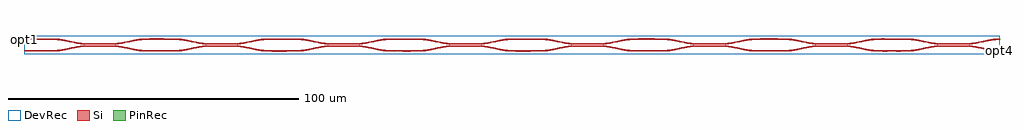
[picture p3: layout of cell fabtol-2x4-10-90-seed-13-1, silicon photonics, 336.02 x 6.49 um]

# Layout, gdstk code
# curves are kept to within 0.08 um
import gdstk
lib = gdstk.Library(unit=1e-6, precision=1e-09)
def R(c, l, rs):  # rectangles x0, y0, x1, y1
    for r in rs: c.add(gdstk.rectangle(r[:2], r[2:], *l))
def P(c, l, *ps):  # polygons
    for p in ps: c.add(gdstk.Polygon(p, *l))
Si = (1, 0)
PinRec = (1, 10)
DevRec = (68, 0)

layer_3_0_phase_sec_3_43 = lib.new_cell('layer-3_0_phase_sec_3$43')
P(layer_3_0_phase_sec_3_43, Si, [(6.24,-0.24),(0,-0.225),(0,0.225),(10,0.225),(10,-0.225)])

layer_3_0_phase_sec_2_43 = lib.new_cell('layer-3_0_phase_sec_2$43')
P(layer_3_0_phase_sec_2_43, Si, [(1.12,-0.238),(0,-0.225),(0,0.225),(10,0.225),(10,-0.225)])

layer_3_0_phase_sec_1_43 = lib.new_cell('layer-3_0_phase_sec_1$43')
P(layer_3_0_phase_sec_1_43, Si, [(1.239,-0.234),(0,-0.225),(0,0.225),(10,0.225),(10,-0.225)])

layer_3_0_phase_sec_0_43 = lib.new_cell('layer-3_0_phase_sec_0$43')
P(layer_3_0_phase_sec_0_43, Si, [(3.009,-0.244),(0,-0.225),(0,0.225),(10,0.225),(10,-0.225)])

layer_0_0_phase_sec_3_43 = lib.new_cell('layer-0_0_phase_sec_3$43')
P(layer_0_0_phase_sec_3_43, Si, [(3.091,-0.234),(0,-0.225),(0,0.225),(10,0.225),(10,-0.225)])

layer_1_0_phase_sec_0_43 = lib.new_cell('layer-1_0_phase_sec_0$43')
P(layer_1_0_phase_sec_0_43, Si, [(1.122,-0.231),(0,-0.225),(0,0.225),(10,0.225),(10,-0.225)])

layer_1_0_phase_sec_1_43 = lib.new_cell('layer-1_0_phase_sec_1$43')
P(layer_1_0_phase_sec_1_43, Si, [(1.278,-0.247),(0,-0.225),(0,0.225),(10,0.225),(10,-0.225)])

layer_0_0_phase_sec_2_43 = lib.new_cell('layer-0_0_phase_sec_2$43')
P(layer_0_0_phase_sec_2_43, Si, [(1.212,-0.245),(0,-0.225),(0,0.225),(10,0.225),(10,-0.225)])

layer_0_0_phase_sec_0_43 = lib.new_cell('layer-0_0_phase_sec_0$43')
P(layer_0_0_phase_sec_0_43, Si, [(2.102,-0.239),(0,-0.225),(0,0.225),(10,0.225),(10,-0.225)])

layer_1_0_phase_sec_2_43 = lib.new_cell('layer-1_0_phase_sec_2$43')
P(layer_1_0_phase_sec_2_43, Si, [(5.69,-0.237),(0,-0.225),(0,0.225),(10,0.225),(10,-0.225)])

layer_0_0_phase_sec_1_43 = lib.new_cell('layer-0_0_phase_sec_1$43')
P(layer_0_0_phase_sec_1_43, Si, [(2.083,-0.227),(0,-0.225),(0,0.225),(10,0.225),(10,-0.225)])

layer_1_0_phase_sec_3_43 = lib.new_cell('layer-1_0_phase_sec_3$43')
P(layer_1_0_phase_sec_3_43, Si, [(1.444,-0.242),(0,-0.225),(0,0.225),(10,0.225),(10,-0.225)])

dc_arm_down_43 = lib.new_cell('dc_arm_down$43')
R(dc_arm_down_43, Si, [(12,-0.55,20,-0.1)])
P(dc_arm_down_43, Si, [(32,-2.225),(30.861,-2.188),(29.344,-2.033),(22.966,-0.793),(21.481,-0.613),(20,-0.55),(20,-0.1),(21.139,-0.137),(22.656,-0.292),(29.034,-1.532),(30.519,-1.712),(32,-1.775)],
  [(0,-2.225),(0,-1.775),(1.481,-1.712),(2.966,-1.532),(9.344,-0.292),(10.861,-0.137),(12,-0.1),(12,-0.55),(10.519,-0.613),(9.034,-0.793),(2.656,-2.033),(1.139,-2.188)])

dc_arm_up_43 = lib.new_cell('dc_arm_up$43')
R(dc_arm_up_43, Si, [(12,0.1,20,0.55)])
P(dc_arm_up_43, Si, [(20,0.1),(20,0.55),(21.481,0.613),(22.966,0.793),(29.344,2.033),(30.861,2.188),(32,2.225),(32,1.775),(30.519,1.712),(29.034,1.532),(22.656,0.292),(21.139,0.137)],
  [(12,0.1),(10.861,0.137),(9.344,0.292),(2.966,1.532),(1.481,1.712),(0,1.775),(0,2.225),(1.139,2.188),(2.656,2.033),(9.034,0.793),(10.519,0.613),(12,0.55)])

dc_43 = lib.new_cell('dc$43')
dc_43.add(gdstk.Reference(dc_arm_down_43, (0,0)))
dc_43.add(gdstk.Reference(dc_arm_up_43, (0,0)))

layer_2_0_phase_sec_0_43 = lib.new_cell('layer-2_0_phase_sec_0$43')
P(layer_2_0_phase_sec_0_43, Si, [(6.266,-0.232),(0,-0.225),(0,0.225),(10,0.225),(10,-0.225)])

layer_2_0_phase_sec_1_43 = lib.new_cell('layer-2_0_phase_sec_1$43')
P(layer_2_0_phase_sec_1_43, Si, [(5.219,-0.245),(0,-0.225),(0,0.225),(10,0.225),(10,-0.225)])

layer_2_0_phase_sec_2_43 = lib.new_cell('layer-2_0_phase_sec_2$43')
P(layer_2_0_phase_sec_2_43, Si, [(1.422,-0.246),(0,-0.225),(0,0.225),(10,0.225),(10,-0.225)])

layer_2_0_phase_sec_3_43 = lib.new_cell('layer-2_0_phase_sec_3$43')
P(layer_2_0_phase_sec_3_43, Si, [(1.566,-0.232),(0,-0.225),(0,0.225),(10,0.225),(10,-0.225)])

fabtol_2x4_10_90_seed_13 = lib.new_cell('fabtol-2x4-10-90-seed-13-1')
R(fabtol_2x4_10_90_seed_13, DevRec, [(0,-1,336,5.493)])
fabtol_2x4_10_90_seed_13.add(gdstk.FlexPath([(335.99,0.247),(336.01,0.247)], 0.45, ends="flush", simple_path=True, layer=1, datatype=10))  # PinRec
fabtol_2x4_10_90_seed_13.add(gdstk.FlexPath([(335.99,4.247),(336.01,4.247)], 0.45, ends="flush", simple_path=True, layer=1, datatype=10))  # PinRec
fabtol_2x4_10_90_seed_13.add(gdstk.FlexPath([(0.01,4.247),(-0.01,4.247)], 0.45, ends="flush", simple_path=True, layer=1, datatype=10))  # PinRec
fabtol_2x4_10_90_seed_13.add(gdstk.Reference(layer_3_0_phase_sec_3_43, (294,0.247)))
fabtol_2x4_10_90_seed_13.add(gdstk.Reference(layer_3_0_phase_sec_2_43, (294,4.247)))
fabtol_2x4_10_90_seed_13.add(gdstk.Reference(layer_3_0_phase_sec_1_43, (252,0.247)))
fabtol_2x4_10_90_seed_13.add(gdstk.Reference(layer_3_0_phase_sec_0_43, (252,4.247)))
fabtol_2x4_10_90_seed_13.add(gdstk.Reference(layer_0_0_phase_sec_3_43, (42,0.247)))
fabtol_2x4_10_90_seed_13.add(gdstk.Reference(layer_1_0_phase_sec_0_43, (84,4.247)))
fabtol_2x4_10_90_seed_13.add(gdstk.Reference(layer_1_0_phase_sec_1_43, (84,0.247)))
fabtol_2x4_10_90_seed_13.add(gdstk.Reference(layer_0_0_phase_sec_2_43, (42,4.247)))
fabtol_2x4_10_90_seed_13.add(gdstk.Reference(layer_0_0_phase_sec_0_43, (0,4.247)))
fabtol_2x4_10_90_seed_13.add(gdstk.Reference(layer_1_0_phase_sec_2_43, (126,4.247)))
fabtol_2x4_10_90_seed_13.add(gdstk.Reference(layer_0_0_phase_sec_1_43, (0,0.247)))
fabtol_2x4_10_90_seed_13.add(gdstk.Reference(layer_1_0_phase_sec_3_43, (126,0.247)))
fabtol_2x4_10_90_seed_13.add(gdstk.Reference(dc_43, (10,2.247)))
fabtol_2x4_10_90_seed_13.add(gdstk.Reference(dc_43, (52,2.247)))
fabtol_2x4_10_90_seed_13.add(gdstk.Reference(dc_43, (94,2.247)))
fabtol_2x4_10_90_seed_13.add(gdstk.Reference(dc_43, (136,2.247)))
fabtol_2x4_10_90_seed_13.add(gdstk.Reference(dc_43, (178,2.247)))
fabtol_2x4_10_90_seed_13.add(gdstk.Reference(dc_43, (220,2.247)))
fabtol_2x4_10_90_seed_13.add(gdstk.Reference(dc_43, (262,2.247)))
fabtol_2x4_10_90_seed_13.add(gdstk.Reference(dc_43, (304,2.247)))
fabtol_2x4_10_90_seed_13.add(gdstk.Reference(layer_2_0_phase_sec_0_43, (168,4.247)))
fabtol_2x4_10_90_seed_13.add(gdstk.Reference(layer_2_0_phase_sec_1_43, (168,0.247)))
fabtol_2x4_10_90_seed_13.add(gdstk.Reference(layer_2_0_phase_sec_2_43, (210,4.247)))
fabtol_2x4_10_90_seed_13.add(gdstk.Reference(layer_2_0_phase_sec_3_43, (210,0.247)))
fabtol_2x4_10_90_seed_13.add(gdstk.Label('opt4', (336,0.247), layer=1, texttype=10))
fabtol_2x4_10_90_seed_13.add(gdstk.Label('opt3', (336,4.247), layer=1, texttype=10))
fabtol_2x4_10_90_seed_13.add(gdstk.Label('opt1', (0,4.247), layer=1, texttype=10))

lib.write_gds('fabtol-2x4-10-90-seed-13-1.gds')
